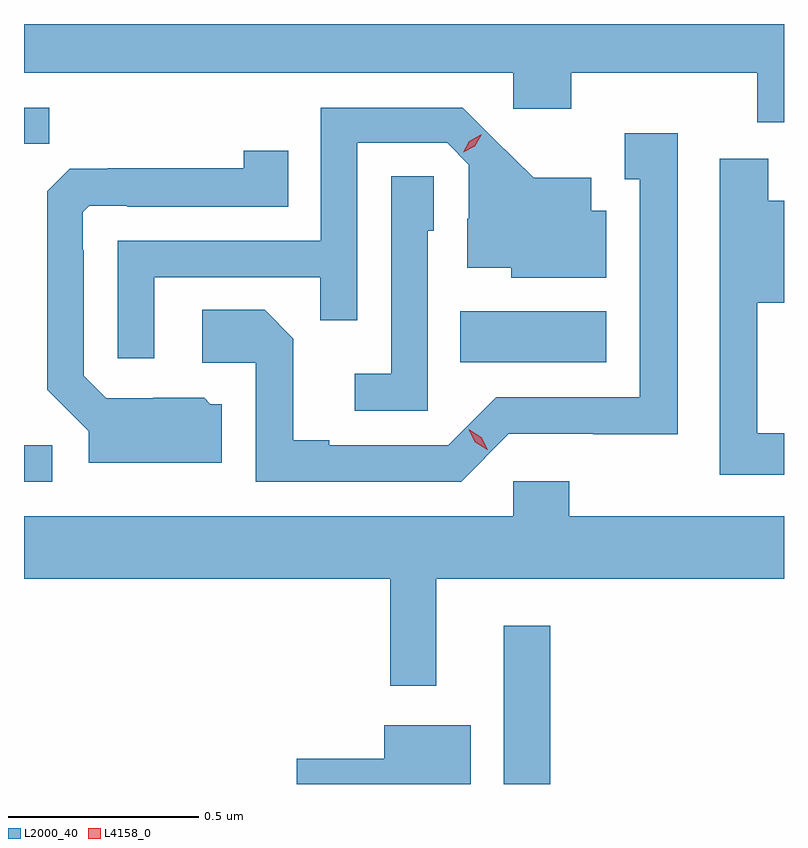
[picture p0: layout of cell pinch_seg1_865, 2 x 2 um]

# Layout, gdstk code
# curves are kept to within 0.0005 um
import gdstk
lib = gdstk.Library(unit=1e-6, precision=1e-09)
def R(c, l, rs):  # rectangles x0, y0, x1, y1
    for r in rs: c.add(gdstk.rectangle(r[:2], r[2:], *l))
def P(c, l, *ps):  # polygons
    for p in ps: c.add(gdstk.Polygon(p, *l))
L2000_40 = (2000, 40)
L4158_0 = (4158, 0)

pinch_seg1_865 = lib.new_cell('pinch_seg1_865')
R(pinch_seg1_865, L2000_40, [(482.693,576.5,482.815,576.916), (481.43,577.296,481.504,577.392), (482.578,577.61,482.962,577.744), (481.43,578.185,481.497,578.28)])
P(pinch_seg1_865, L2000_40, [(483.43,578.5),(481.43,578.5),(481.43,578.372),(482.718,578.372),(482.718,578.277),(482.87,578.277),(482.87,578.372),(483.359,578.372),(483.359,578.241),(483.43,578.241)],
  [(481.773,577.833),(482.209,577.833),(482.209,577.72),(482.307,577.72),(482.307,578.187),(482.544,578.187),(482.601,578.13),(482.601,577.988),(482.597,577.988),(482.597,577.859),(482.712,577.859),(482.712,577.832),(482.962,577.832),(482.962,578.008),(482.923,578.008),(482.923,578.095),(482.771,578.095),(482.584,578.28),(482.211,578.28),(482.211,577.929),(481.677,577.929),(481.677,577.62),(481.773,577.62)],
  [(482.706,577.422),(482.928,577.422),(482.928,577.421),(483.151,577.421),(483.151,578.212),(483.011,578.212),(483.011,578.091),(483.05,578.091),(483.05,577.518),(482.673,577.518),(482.547,577.392),(482.233,577.392),(482.233,577.405),(482.139,577.405),(482.139,577.672),(482.063,577.748),(481.899,577.748),(481.899,577.608),(482.04,577.608),(482.04,577.296),(482.58,577.296)],
  [(481.951,577.5),(481.92,577.5),(481.904,577.516),(481.77,577.516),(481.77,577.515),(481.647,577.515),(481.587,577.575),(481.587,577.904),(481.584,577.904),(481.584,578.004),(481.602,578.022),(481.702,578.022),(481.702,578.019),(482.126,578.019),(482.126,578.167),(482.008,578.167),(482.008,578.12),(481.651,578.12),(481.651,578.119),(481.55,578.119),(481.491,578.06),(481.491,577.538),(481.601,577.428),(481.601,577.346),(481.951,577.346)],
  [(483.43,577.423),(483.359,577.423),(483.359,577.766),(483.43,577.766),(483.43,578.035),(483.388,578.035),(483.388,578.146),(483.261,578.146),(483.261,577.314),(483.43,577.314)],
  [(482.493,577.956),(482.508,577.956),(482.508,578.099),(482.397,578.099),(482.397,577.579),(482.301,577.579),(482.301,577.482),(482.493,577.482)],
  [(482.515,577.04),(483.43,577.04),(483.43,577.204),(482.865,577.204),(482.865,577.297),(482.718,577.297),(482.718,577.204),(481.43,577.204),(481.43,577.04),(482.394,577.04),(482.394,576.759),(482.515,576.759)],
  [(482.605,576.655),(482.378,576.655),(482.378,576.567),(482.148,576.567),(482.148,576.5),(482.605,576.5)])
P(pinch_seg1_865, L4158_0, [(482.649,577.38),(482.618,577.4),(482.601,577.432),(482.601,577.433),(482.601,577.433),(482.633,577.413),(482.65,577.38),(482.65,577.38)],
  [(482.586,578.162),(482.586,578.162),(482.602,578.192),(482.632,578.208),(482.633,578.208),(482.633,578.207),(482.616,578.178),(482.586,578.162)])

lib.write_gds('pinch_seg1_865.gds')
